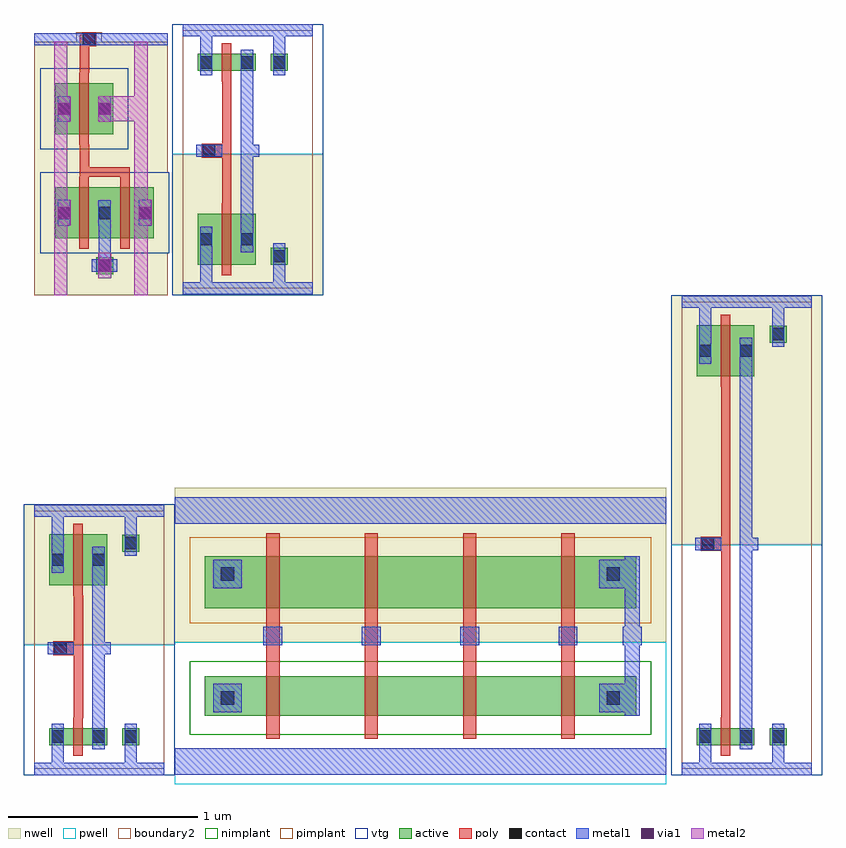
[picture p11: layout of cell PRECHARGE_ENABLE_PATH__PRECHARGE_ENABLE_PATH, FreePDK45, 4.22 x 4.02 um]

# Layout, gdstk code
import gdstk
lib = gdstk.Library(unit=1e-6, precision=1e-09)
def R(c, l, rs):  # rectangles x0, y0, x1, y1
    for r in rs: c.add(gdstk.rectangle(r[:2], r[2:], *l))
def A(c, l, x, y, w, h, nx, ny, dx, dy):  # array of equal rectangles
    R(c, l, [(x+i*dx, y+j*dy, x+i*dx+w, y+j*dy+h) for i in range(nx) for j in range(ny)])
active = (1, 0)
pwell = (2, 0)
nwell = (3, 0)
nimplant = (4, 0)
pimplant = (5, 0)
vtg = (6, 0)
poly = (9, 0)
contact = (10, 0)
metal1 = (11, 0)
via1 = (12, 0)
metal2 = (13, 0)
boundary2 = (239, 0)

precharge_enable_path__s = lib.new_cell('PRECHARGE_ENABLE_PATH__sram_1rw_32x16_freepdk45_contact_11')
R(precharge_enable_path__s, active, [(0,0.022,0.09,0.112)])
R(precharge_enable_path__s, nwell, [(-0.055,-0.033,0.145,0.168)])
R(precharge_enable_path__s, pimplant, [(0,0.022,0.09,0.112)])
R(precharge_enable_path__s, contact, [(0.013,0.035,0.077,0.1)])
R(precharge_enable_path__s, metal1, [(0.013,0,0.077,0.135)])
R(precharge_enable_path__s, boundary2, [(-0.055,-0.033,0.145,0.168)])

c_precharge_enable_path__s = lib.new_cell('PRECHARGE_ENABLE_PATH__sram_1rw_32x16_freepdk45_pmos_m1_w0_270_sm1_dm1_da_p')
R(c_precharge_enable_path__s, active, [(0,0,0.305,0.27)])
R(c_precharge_enable_path__s, nwell, [(-0.08,-0.08,0.385,0.35)])
R(c_precharge_enable_path__s, pimplant, [(0,0,0.305,0.27)])
R(c_precharge_enable_path__s, vtg, [(-0.08,-0.08,0.385,0.35)])
R(c_precharge_enable_path__s, poly, [(0.127,-0.055,0.177,0.325), (0.127,-0.055,0.177,0.325)])
R(c_precharge_enable_path__s, metal1, [(0.013,0.068,0.077,0.203), (0.227,0.068,0.292,0.203)])
R(c_precharge_enable_path__s, boundary2, [(-0.08,-0.08,0.385,0.35)])
c_precharge_enable_path__s.add(gdstk.Reference(precharge_enable_path__s, (0,0.068)))
c_precharge_enable_path__s.add(gdstk.Reference(precharge_enable_path__s, (0.215,0.068)))
c_precharge_enable_path__s.add(gdstk.Label('G', (0.152,0.135), layer=9, texttype=0))
c_precharge_enable_path__s.add(gdstk.Label('S', (0.045,0.135), layer=11, texttype=0))
c_precharge_enable_path__s.add(gdstk.Label('D', (0.26,0.135), layer=11, texttype=0))

c_precharge_enable_path__s_ = lib.new_cell('PRECHARGE_ENABLE_PATH__sram_1rw_32x16_freepdk45_contact_10')
R(c_precharge_enable_path__s_, active, [(0,0.022,0.09,0.112)])
R(c_precharge_enable_path__s_, pwell, [(-0.055,-0.033,0.145,0.168)])
R(c_precharge_enable_path__s_, nimplant, [(0,0.022,0.09,0.112)])
R(c_precharge_enable_path__s_, contact, [(0.013,0.035,0.077,0.1)])
R(c_precharge_enable_path__s_, metal1, [(0.013,0,0.077,0.135)])
R(c_precharge_enable_path__s_, boundary2, [(-0.055,-0.033,0.145,0.168)])

c_precharge_enable_path__s__ = lib.new_cell('PRECHARGE_ENABLE_PATH__sram_1rw_32x16_freepdk45_nmos_m1_w0_090_sm1_dm1_da_p')
R(c_precharge_enable_path__s__, active, [(0,0,0.305,0.09)])
R(c_precharge_enable_path__s__, pwell, [(-0.08,-0.08,0.385,0.17)])
R(c_precharge_enable_path__s__, nimplant, [(0,0,0.305,0.09)])
R(c_precharge_enable_path__s__, vtg, [(-0.08,-0.08,0.385,0.17)])
R(c_precharge_enable_path__s__, poly, [(0.127,-0.055,0.177,0.145), (0.127,-0.055,0.177,0.145)])
R(c_precharge_enable_path__s__, metal1, [(0.013,-0.022,0.077,0.112), (0.227,-0.022,0.292,0.112)])
R(c_precharge_enable_path__s__, boundary2, [(-0.08,-0.08,0.385,0.17)])
c_precharge_enable_path__s__.add(gdstk.Reference(c_precharge_enable_path__s_, (0,-0.022)))
c_precharge_enable_path__s__.add(gdstk.Reference(c_precharge_enable_path__s_, (0.215,-0.022)))
c_precharge_enable_path__s__.add(gdstk.Label('G', (0.152,0.045), layer=9, texttype=0))
c_precharge_enable_path__s__.add(gdstk.Label('S', (0.045,0.045), layer=11, texttype=0))
c_precharge_enable_path__s__.add(gdstk.Label('D', (0.26,0.045), layer=11, texttype=0))

c_precharge_enable_path__s___ = lib.new_cell('PRECHARGE_ENABLE_PATH__sram_1rw_32x16_freepdk45_contact_12')
R(c_precharge_enable_path__s___, active, [(0,0.022,0.09,0.112)])
R(c_precharge_enable_path__s___, nwell, [(-0.055,-0.033,0.145,0.168)])
R(c_precharge_enable_path__s___, nimplant, [(0,0.022,0.09,0.112)])
R(c_precharge_enable_path__s___, contact, [(0.013,0.035,0.077,0.1)])
R(c_precharge_enable_path__s___, metal1, [(0.013,0,0.077,0.135)])
R(c_precharge_enable_path__s___, boundary2, [(-0.055,-0.033,0.145,0.168)])

c_precharge_enable_path__s____ = lib.new_cell('PRECHARGE_ENABLE_PATH__sram_1rw_32x16_freepdk45_contact_13')
R(c_precharge_enable_path__s____, active, [(0,0.022,0.09,0.112)])
R(c_precharge_enable_path__s____, pwell, [(-0.055,-0.033,0.145,0.168)])
R(c_precharge_enable_path__s____, pimplant, [(0,0.022,0.09,0.112)])
R(c_precharge_enable_path__s____, contact, [(0.013,0.035,0.077,0.1)])
R(c_precharge_enable_path__s____, metal1, [(0.013,0,0.077,0.135)])
R(c_precharge_enable_path__s____, boundary2, [(-0.055,-0.033,0.145,0.168)])

c_precharge_enable_path__s_____ = lib.new_cell('PRECHARGE_ENABLE_PATH__sram_1rw_32x16_freepdk45_contact_14')
R(c_precharge_enable_path__s_____, poly, [(0.03,0,0.105,0.075)])
R(c_precharge_enable_path__s_____, contact, [(0.035,0.005,0.1,0.07)])
R(c_precharge_enable_path__s_____, metal1, [(0,0.005,0.135,0.07)])
R(c_precharge_enable_path__s_____, boundary2, [(0,0,0.135,0.075)])

precharge_enable_path__g = lib.new_cell('PRECHARGE_ENABLE_PATH__gen_inv')
R(precharge_enable_path__g, pwell, [(-0.055,-0.033,0.743,0.655)])
R(precharge_enable_path__g, nwell, [(-0.055,0.655,0.743,1.4)])
R(precharge_enable_path__g, vtg, [(-0.055,-0.033,0.743,0.655), (-0.055,0.655,0.743,1.4)])
R(precharge_enable_path__g, poly, [(0.208,0.27,0.258,0.915), (0.14,0.6,0.208,0.675)])
R(precharge_enable_path__g, metal1, [(0,-0.033,0.687,0.033), (0.092,-0.033,0.157,0.103), (0.478,0,0.542,0.17), (0.307,0.103,0.372,1.173), (0.072,0.605,0.208,0.67), (0.34,0.605,0.405,0.67), (0.092,1.038,0.157,1.397), (0.478,1.195,0.542,1.365), (0,1.332,0.687,1.397)])
R(precharge_enable_path__g, boundary2, [(0,0,0.687,1.365), (0,0,0.687,1.365)])
precharge_enable_path__g.add(gdstk.Reference(c_precharge_enable_path__s, (0.08,0.97)))
precharge_enable_path__g.add(gdstk.Reference(c_precharge_enable_path__s__, (0.08,0.125)))
precharge_enable_path__g.add(gdstk.Reference(c_precharge_enable_path__s___, (0.465,1.127)))
precharge_enable_path__g.add(gdstk.Reference(c_precharge_enable_path__s____, (0.465,0.103)))
precharge_enable_path__g.add(gdstk.Reference(c_precharge_enable_path__s_____, (0.072,0.6)))
precharge_enable_path__g.add(gdstk.Label('A', (0.14,0.638), layer=11, texttype=0))
precharge_enable_path__g.add(gdstk.Label('Z', (0.372,0.638), layer=11, texttype=0))
precharge_enable_path__g.add(gdstk.Label('gnd', (0.345,0), layer=11, texttype=0))
precharge_enable_path__g.add(gdstk.Label('vdd', (0.345,1.365), layer=11, texttype=0))

c_precharge_enable_path__g = lib.new_cell('PRECHARGE_ENABLE_PATH__gen_nand4')
R(c_precharge_enable_path__g, active, [(0.16,0.36,2.44,0.57), (0.16,0.93,2.44,1.205)])
R(c_precharge_enable_path__g, pwell, [(0,0,2.6,0.75)])
R(c_precharge_enable_path__g, nwell, [(0,0.75,2.6,1.565)])
R(c_precharge_enable_path__g, nimplant, [(0.08,0.26,2.52,0.65)])
R(c_precharge_enable_path__g, pimplant, [(0.08,0.85,2.52,1.305)])
A(c_precharge_enable_path__g, poly, 0.485, 0.24, 0.07, 1.085, 4, 1, 0.52, 0)
R(c_precharge_enable_path__g, contact, [(0.245,0.42,0.315,0.49), (2.285,0.42,2.355,0.49), (0.245,1.075,0.315,1.145), (2.285,1.075,2.355,1.145)])
A(c_precharge_enable_path__g, metal1, 0.47, 0.733, 0.1, 0.099, 4, 1, 0.52, 0)
R(c_precharge_enable_path__g, metal1, [(0,0.05,2.6,0.19), (1.25,0.07,1.35,0.17), (2.38,0.36,2.46,1.205), (0.205,0.38,0.355,0.53), (2.245,0.38,2.395,0.53), (2.37,0.733,2.47,0.832), (0.205,1.035,0.355,1.185), (2.245,1.035,2.395,1.185), (0,1.375,2.6,1.515), (1.25,1.395,1.35,1.495)])

c_precharge_enable_path__g_ = lib.new_cell('PRECHARGE_ENABLE_PATH__gen_delay_inv')
R(c_precharge_enable_path__g_, pwell, [(-0.055,-0.033,0.743,1.185)])
R(c_precharge_enable_path__g_, nwell, [(-0.055,1.185,0.743,2.505)])
R(c_precharge_enable_path__g_, vtg, [(-0.055,-0.033,0.743,1.185), (-0.055,1.185,0.743,2.505)])
R(c_precharge_enable_path__g_, poly, [(0.208,0.27,0.258,2.02), (0.14,1.153,0.208,1.228)])
R(c_precharge_enable_path__g_, metal1, [(0,-0.033,0.687,0.033), (0.092,-0.033,0.157,0.103), (0.478,0,0.542,0.17), (0.307,0.103,0.372,2.277), (0.072,1.157,0.208,1.222), (0.34,1.157,0.405,1.222), (0.092,2.143,0.157,2.502), (0.478,2.3,0.542,2.47), (0,2.437,0.687,2.502)])
R(c_precharge_enable_path__g_, boundary2, [(0,0,0.687,2.47), (0,0,0.687,2.47)])
c_precharge_enable_path__g_.add(gdstk.Reference(c_precharge_enable_path__s, (0.08,2.075)))
c_precharge_enable_path__g_.add(gdstk.Reference(c_precharge_enable_path__s__, (0.08,0.125)))
c_precharge_enable_path__g_.add(gdstk.Reference(c_precharge_enable_path__s___, (0.465,2.232)))
c_precharge_enable_path__g_.add(gdstk.Reference(c_precharge_enable_path__s____, (0.465,0.103)))
c_precharge_enable_path__g_.add(gdstk.Reference(c_precharge_enable_path__s_____, (0.072,1.153)))
c_precharge_enable_path__g_.add(gdstk.Label('A', (0.14,1.19), layer=11, texttype=0))
c_precharge_enable_path__g_.add(gdstk.Label('Z', (0.372,1.19), layer=11, texttype=0))
c_precharge_enable_path__g_.add(gdstk.Label('gnd', (0.345,0), layer=11, texttype=0))
c_precharge_enable_path__g_.add(gdstk.Label('vdd', (0.345,2.47), layer=11, texttype=0))

c_precharge_enable_path__s______ = lib.new_cell('PRECHARGE_ENABLE_PATH__sram_1rw_32x16_freepdk45_contact_11__gen_nand2')
R(c_precharge_enable_path__s______, active, [(0,0.022,0.09,0.112)])
R(c_precharge_enable_path__s______, nwell, [(-0.055,-0.033,0.145,0.168)])
R(c_precharge_enable_path__s______, pimplant, [(0,0.022,0.09,0.112)])
R(c_precharge_enable_path__s______, contact, [(0.013,0.035,0.077,0.1)])
R(c_precharge_enable_path__s______, metal1, [(0.013,0,0.077,0.135)])
R(c_precharge_enable_path__s______, boundary2, [(-0.055,-0.033,0.145,0.168)])

c_precharge_enable_path__s_______ = lib.new_cell('PRECHARGE_ENABLE_PATH__sram_1rw_32x16_freepdk45_pmos_m1_w0_270_sm1_dm1')
R(c_precharge_enable_path__s_______, active, [(0,0,0.305,0.27)])
R(c_precharge_enable_path__s_______, nwell, [(-0.08,-0.08,0.385,0.35)])
R(c_precharge_enable_path__s_______, pimplant, [(0,0,0.305,0.27)])
R(c_precharge_enable_path__s_______, vtg, [(-0.08,-0.08,0.385,0.35)])
R(c_precharge_enable_path__s_______, poly, [(0.127,-0.055,0.177,0.325), (0.127,-0.055,0.177,0.325)])
R(c_precharge_enable_path__s_______, metal1, [(0.013,0.068,0.077,0.203), (0.227,0.068,0.292,0.203)])
R(c_precharge_enable_path__s_______, boundary2, [(-0.08,-0.08,0.385,0.35)])
c_precharge_enable_path__s_______.add(gdstk.Reference(c_precharge_enable_path__s______, (0,0.068)))
c_precharge_enable_path__s_______.add(gdstk.Reference(c_precharge_enable_path__s______, (0.215,0.068)))
c_precharge_enable_path__s_______.add(gdstk.Label('G', (0.152,0.135), layer=9, texttype=0))
c_precharge_enable_path__s_______.add(gdstk.Label('S', (0.045,0.135), layer=11, texttype=0))
c_precharge_enable_path__s_______.add(gdstk.Label('D', (0.26,0.135), layer=11, texttype=0))

c_precharge_enable_path__s________ = lib.new_cell('PRECHARGE_ENABLE_PATH__sram_1rw_32x16_freepdk45_contact_22')
R(c_precharge_enable_path__s________, active, [(0.022,0,0.112,0.09)])
R(c_precharge_enable_path__s________, nwell, [(-0.033,-0.055,0.168,0.145)])
R(c_precharge_enable_path__s________, nimplant, [(0.022,0,0.112,0.09)])
R(c_precharge_enable_path__s________, contact, [(0.035,0.013,0.1,0.077)])
R(c_precharge_enable_path__s________, metal1, [(0,0.013,0.135,0.077)])
R(c_precharge_enable_path__s________, boundary2, [(-0.033,-0.055,0.168,0.145)])

c_precharge_enable_path__s_________ = lib.new_cell('PRECHARGE_ENABLE_PATH__sram_1rw_32x16_freepdk45_contact_17')
R(c_precharge_enable_path__s_________, metal1, [(0,0.035,0.135,0.1)])
R(c_precharge_enable_path__s_________, via1, [(0.035,0.035,0.1,0.1)])
R(c_precharge_enable_path__s_________, metal2, [(0.033,0,0.103,0.135)])
R(c_precharge_enable_path__s_________, boundary2, [(0,0,0.135,0.135)])

c_precharge_enable_path__s__________ = lib.new_cell('PRECHARGE_ENABLE_PATH__sram_1rw_32x16_freepdk45_contact_23')
R(c_precharge_enable_path__s__________, metal1, [(0.002,0,0.068,0.135)])
R(c_precharge_enable_path__s__________, via1, [(0.002,0.035,0.068,0.1)])
R(c_precharge_enable_path__s__________, metal2, [(0,0,0.07,0.135)])
R(c_precharge_enable_path__s__________, boundary2, [(0,0,0.07,0.135)])

c_precharge_enable_path__g__ = lib.new_cell('PRECHARGE_ENABLE_PATH__gen_precharge')
R(c_precharge_enable_path__g__, nwell, [(0,0,0.705,1.34)])
R(c_precharge_enable_path__g__, poly, [(0.24,-0.037,0.29,0.013), (0.265,-0.037,0.29,0.013), (0.24,-0.013,0.29,0.165), (0.24,0.545,0.29,0.715), (0.24,0.665,0.505,0.715)])
R(c_precharge_enable_path__g__, metal1, [(0,-0.045,0.705,0.02), (0.34,0.905,0.405,1.185), (0.34,1.153,0.405,1.218)])
R(c_precharge_enable_path__g__, metal2, [(0.105,0,0.175,1.34), (0.105,0,0.175,1.34), (0.53,0,0.6,1.34), (0.53,0,0.6,1.34), (0.14,0.288,0.157,0.422), (0.372,0.288,0.565,0.422), (0.14,0.837,0.157,0.972), (0.565,0.837,0.588,0.972)])
R(c_precharge_enable_path__g__, boundary2, [(0,0,0.705,1.34)])
c_precharge_enable_path__g__.add(gdstk.Reference(c_precharge_enable_path__s_______, (0.112,0.22)))
c_precharge_enable_path__g__.add(gdstk.Reference(c_precharge_enable_path__s_______, (0.112,0.77)))
c_precharge_enable_path__g__.add(gdstk.Reference(c_precharge_enable_path__s_______, (0.328,0.77)))
c_precharge_enable_path__g__.add(gdstk.Reference(c_precharge_enable_path__s_____, (0.222,-0.05)))
c_precharge_enable_path__g__.add(gdstk.Reference(c_precharge_enable_path__s________, (0.305,1.14)))
c_precharge_enable_path__g__.add(gdstk.Reference(c_precharge_enable_path__s_________, (0.305,1.117)))
c_precharge_enable_path__g__.add(gdstk.Reference(c_precharge_enable_path__s__________, (0.122,0.288)))
c_precharge_enable_path__g__.add(gdstk.Reference(c_precharge_enable_path__s__________, (0.338,0.288)))
c_precharge_enable_path__g__.add(gdstk.Reference(c_precharge_enable_path__s__________, (0.122,0.837)))
c_precharge_enable_path__g__.add(gdstk.Reference(c_precharge_enable_path__s__________, (0.552,0.837)))
c_precharge_enable_path__g__.add(gdstk.Label('en_bar', (0.352,-0.013), layer=11, texttype=0))
c_precharge_enable_path__g__.add(gdstk.Label('vdd', (0.372,1.185), layer=11, texttype=0))
c_precharge_enable_path__g__.add(gdstk.Label('bl', (0.14,0.67), layer=13, texttype=0))
c_precharge_enable_path__g__.add(gdstk.Label('br', (0.565,0.67), layer=13, texttype=0))

precharge_enable_path__p = lib.new_cell('PRECHARGE_ENABLE_PATH__PRECHARGE_ENABLE_PATH')
precharge_enable_path__p.add(gdstk.Reference(precharge_enable_path__g, (0.08,0.08)))
precharge_enable_path__p.add(gdstk.Reference(c_precharge_enable_path__g, (0.822,0)))
precharge_enable_path__p.add(gdstk.Reference(c_precharge_enable_path__g_, (3.503,0.08)))
precharge_enable_path__p.add(gdstk.Reference(c_precharge_enable_path__g__, (0.08,3.925), x_reflection=True))
precharge_enable_path__p.add(gdstk.Reference(precharge_enable_path__g, (0.865,3.985), x_reflection=True))

lib.write_gds('PRECHARGE_ENABLE_PATH__PRECHARGE_ENABLE_PATH.gds')
